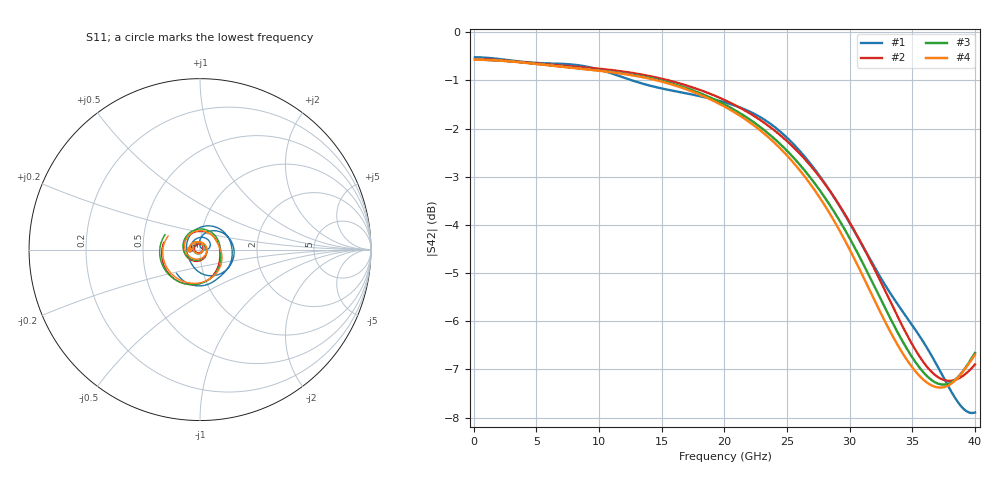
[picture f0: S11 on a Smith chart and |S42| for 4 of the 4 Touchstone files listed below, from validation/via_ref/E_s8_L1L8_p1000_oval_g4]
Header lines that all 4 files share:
! E_s8_L1L8_p1000_oval_g4: pair L1→L8, pitch 1 mm, one oval antipad, 4 GND vias
! stackup: 8-layer 1.6 mm FR-4 (generic)
! ports: 1 P near, 2 N near, 3 P far, 4 N far
# Hz S RI R 50
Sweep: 100 MHz to 40 GHz
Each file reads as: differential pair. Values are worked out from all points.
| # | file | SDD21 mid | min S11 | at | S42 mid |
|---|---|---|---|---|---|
| 1 | cst.s4p | -0.8 dB at 20.1 GHz | -38.5 dB | 7 GHz | -1.5 dB at 20.1 GHz |
| 2 | kisi.s4p | -0.8 dB at 20.1 GHz | -37.1 dB | 6.8 GHz | -1.4 dB at 20.1 GHz |
| 3 | openems.s4p | -0.8 dB at 20.1 GHz | -34.1 dB | 6.5 GHz | -1.5 dB at 20.1 GHz |
| 4 | openems_base.s4p | -0.8 dB at 20.1 GHz | -34.8 dB | 6.7 GHz | -1.6 dB at 20.1 GHz |
